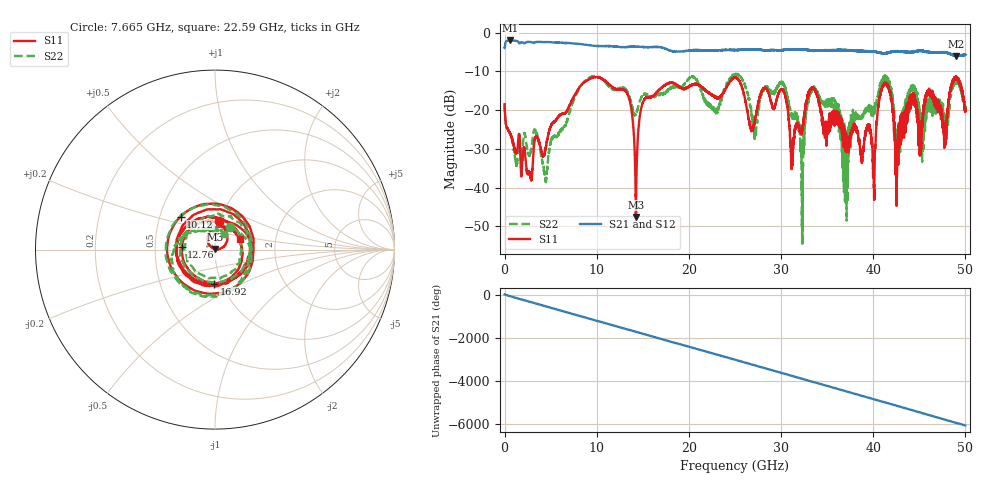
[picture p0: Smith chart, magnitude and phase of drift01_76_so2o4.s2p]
!Created with skrf (http://scikit-rf.org).
# Hz S RI R 50.0
!freq ReS11 ImS11 ReS21 ImS21 ReS12 ImS12 ReS22 ImS22
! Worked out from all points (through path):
!   10001 points, 300 kHz to 50 GHz, reference 50 ohm
!   highest |S21| = -1.99 dB at 570.3 MHz (marker M1); lowest = -6.0 dB at 48.98 GHz (marker M2)
!   group delay of S21, straight-line fit = 336 ps
!   lowest |S11| = -47.6 dB at 14.25 GHz (marker M3), VSWR 1.01, Z = 50.1 + j0.411 ohm
!   |S11| at or under -10 dB: start of sweep to end of sweep
!   |S22| runs from -55.1 to -10.6 dB; largest |S21 - S12| = 0.02
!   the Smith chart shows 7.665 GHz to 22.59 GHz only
!   S11 on the Smith chart (normalised r, x): 7.665 GHz: 1.00, +0.32; 10.12 GHz: 0.64, +0.25; 12.76 GHz: 0.69, +0.02; 16.92 GHz: 0.92, -0.36; 22.59 GHz: 1.31, +0.16
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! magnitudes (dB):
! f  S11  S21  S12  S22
! 300 kHz  -18.5  -4.0  -4.1  -18.2
! 570.3 MHz  -26.0  -2.0  -2.0  -26.0
! 4.445 GHz  -29.8  -2.4  -2.4  -38.0
! 7.665 GHz  -15.9  -2.8  -2.8  -16.5
! 8.335 GHz  -13.5  -2.9  -2.9  -13.5
! 10.12 GHz  -11.5  -3.4  -3.4  -11.4
! 12.76 GHz  -14.6  -3.7  -3.7  -14.3
! 14.25 GHz  -47.6  -3.6  -3.6  -21.0
! 16.67 GHz  -15.0  -3.7  -3.7  -15.9
! 16.92 GHz  -14.4  -3.7  -3.7  -15.9
! 22.59 GHz  -16.3  -4.6  -4.6  -20.0
! 25 GHz  -11.5  -4.5  -4.5  -10.8
! 27.18 GHz  -22.3  -4.3  -4.3  -25.9
! 30.22 GHz  -14.8  -4.5  -4.5  -13.4
! 32.28 GHz  -24.7  -4.3  -4.3  -50.9
! 33.34 GHz  -14.2  -4.6  -4.6  -14.9
! 36.99 GHz  -30.5  -4.5  -4.4  -32.2
! 40.04 GHz  -36.1  -4.8  -4.8  -19.8
! 41.67 GHz  -13.8  -5.1  -5.1  -13.3
! 42.62 GHz  -31.7  -4.7  -4.7  -33.3
! 48.98 GHz  -11.5  -6.0  -6.0  -12.5
! 50 GHz  -19.9  -5.7  -5.7  -19.2
